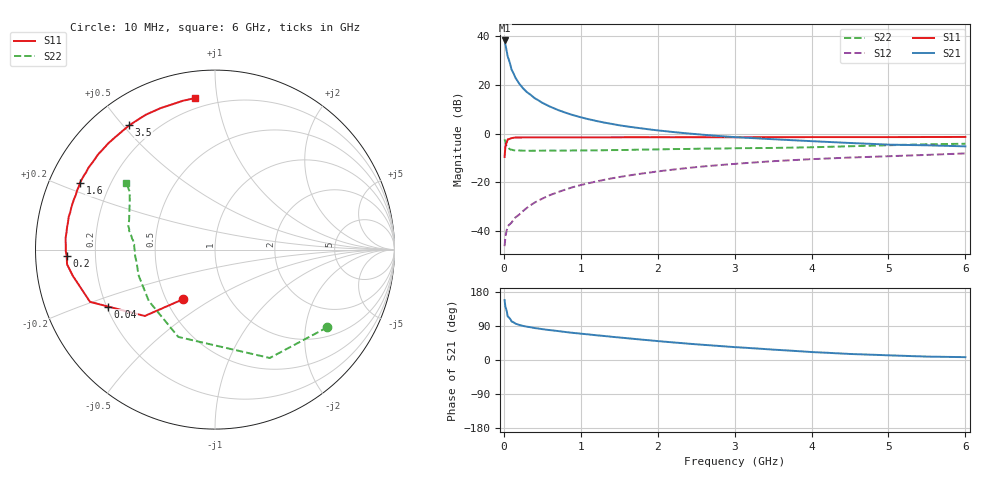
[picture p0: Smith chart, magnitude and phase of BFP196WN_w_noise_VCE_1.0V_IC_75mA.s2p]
! (c) 2017  Infineon Technologies AG, Munich
! Infineon Technologies  Discrete & RF Semiconductors
! BFP196WN
! VCE =  1.0 V,  IC =  75 mA
! Common Emitter S-Parameters:  Jan 2017
# GHz  S  MA  R  50
!  f  S11  S21  S12  S22
! GHz  MAG  ANG  MAG  ANG  MAG  ANG  MAG  ANG
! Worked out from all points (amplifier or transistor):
!   77 points, 10 MHz to 6 GHz, reference 50 ohm
!   highest |S21| = 38.2 dB at 10 MHz (marker M1)
!   |S21| within 3 dB of that: start of sweep to 28.63 MHz
!   unconditionally stable (mu >= 1): 374.9 MHz to 3.463 GHz; 3.687161 GHz to 3.704794 GHz; 4.17 GHz to 5.4 GHz
!   at 130 MHz: K = 0.74, MSG = 29.8 dB, |S12| = -35.2 dB
!   at 2.2 GHz: K = 1.04, MAG = 6.4 dB, |S12| = -14.8 dB
!   at 6 GHz: K = 0.98, MSG = 1.4 dB, |S12| = -8.2 dB
!   lowest NFmin = 1.53 dB at 450 MHz
!   S11 on the Smith chart (normalised r, x): 10 MHz: 0.61, -0.38; 40 MHz: 0.21, -0.24; 200 MHz: 0.09, -0.02; 1.6 GHz: 0.09, +0.23; 3.5 GHz: 0.11, +0.52; 6 GHz: 0.14, +0.87
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0.01  0.3306 -123.0  80.94 158.0  0.0049 69.6  0.7613 -34.6
0.02  0.5383 -136.6  66.38 140.2  0.0075 58.3  0.6766 -63.2
0.04  0.674 -151.9  46.33 126.7  0.0108 46.5  0.5268 -93.8
0.05  0.7548 -157.3  38.01 115.0  0.0125 43.0  0.5278 -112.8
0.1  0.8059 -169.6  20.49 101.8  0.0149 46.9  0.467 -142.2
0.15  0.8283 -174.3  13.97 96.1  0.019 52.4  0.4494 -154.8
0.2  0.8272 -177.5  10.53 92.6  0.0218 59.9  0.4492 -161.0
0.25  0.8312 -179.4  8.45 89.9  0.0258 60.9  0.4455 -165.0
0.3  0.8314 178.7  7.054 87.9  0.0299 62.9  0.4432 -168.2
0.4  0.8349 175.8  5.321 84.3  0.0383 67.0  0.4433 -171.8
0.5  0.833 173.4  4.259 81.4  0.0462 68.7  0.4455 -174.6
0.6  0.8336 171.3  3.563 78.8  0.0547 69.9  0.4473 -176.6
0.7  0.8331 169.3  3.056 76.5  0.0625 70.1  0.4454 -178.2
0.9  0.8329 165.5  2.383 71.6  0.0797 69.8  0.4489 179.4
1.1  0.8342 162.0  1.968 67.5  0.0957 69.3  0.4512 177.2
1.6  0.8387 153.7  1.398 57.5  0.1359 66.0  0.4599 173.4
2.1  0.8383 145.7  1.116 48.2  0.1746 61.5  0.4759 170.2
3.1  0.8373 130.5  0.828 32.8  0.2448 52.0  0.501 164.2
3.5  0.8415 124.6  0.764 27.4  0.2708 48.2  0.5063 160.9
4.1  0.8438 116.0  0.685 20.0  0.3027 42.5  0.5272 154.7
5.1  0.8444 105.3  0.588 11.7  0.3466 34.4  0.5803 145.4
6  0.8513 97.6  0.545 7.5  0.3912 28.4  0.617 143.3
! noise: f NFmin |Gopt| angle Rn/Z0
0.45  1.53  0.57  -176  0.05
0.9  1.66  0.59  -169  0.06
1.9  2.6  0.7  -147  0.2
2.4  3.41  0.71  -138  0.33
